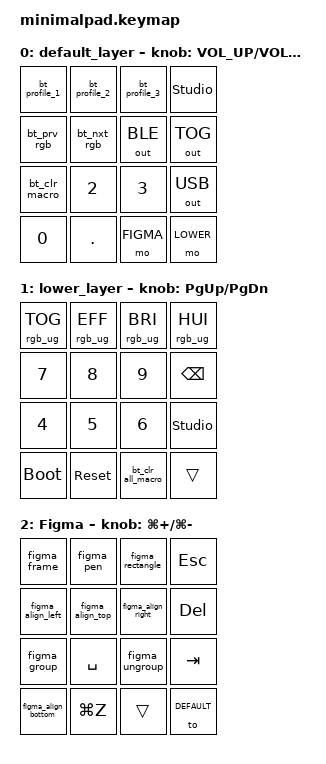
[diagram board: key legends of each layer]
#include <behaviors.dtsi>
#include <dt-bindings/zmk/keys.h>
#include <dt-bindings/zmk/bt.h>
#include <dt-bindings/zmk/rgb.h>
#include <dt-bindings/zmk/outputs.h>
#include <dt-bindings/gpio/gpio.h>
#include <dt-bindings/zmk/ext_power.h>


#define DEFAULT 0
#define LOWER   1
#define FIGMA   2
#define EXTRA_1 3
#define EXTRA_2 4

/ {
    // Define a global RGB control behavior to initialize RGB on startup
    behaviors {
        // Behavior to cycle through BT profiles with RGB indication
        bt_nxt_rgb: bt_nxt_rgb {
            compatible = "zmk,behavior-macro";
            #binding-cells = <0>;
            wait-ms = <100>;
            tap-ms = <5>;
            bindings = <&bt BT_NXT &rgb_ug RGB_COLOR_HSB(180,100,80)>;
            label = "BT_NEXT_WITH_RGB";
        };
        
        bt_prv_rgb: bt_prv_rgb {
            compatible = "zmk,behavior-macro";
            #binding-cells = <0>;
            wait-ms = <100>;
            tap-ms = <5>;
            bindings = <&bt BT_PRV &rgb_ug RGB_COLOR_HSB(300,100,80)>;
            label = "BT_PREV_WITH_RGB";
        };
    };

    sensors {
        compatible = "zmk,keymap-sensors";
        sensors = <&encoder0>;
        triggers-per-rotation = <10>;
    };

    // Define macros for layer-based RGB colors
    macros {
        rgb_default: rgb_default {
            compatible = "zmk,behavior-macro";
            #binding-cells = <0>;
            bindings = <&rgb_ug RGB_ON &rgb_ug RGB_COLOR_HSB(140,100,100)>;
            label = "RGB_DEFAULT";
        };

        rgb_lower: rgb_lower {
            compatible = "zmk,behavior-macro";
            #binding-cells = <0>;
            bindings = <&rgb_ug RGB_COLOR_HSB(285,80,100)>;
            label = "RGB_LOWER";
        };

        // Bluetooth status indication macros with forced RGB
        bt_profile_1: bt_profile_1 {
            compatible = "zmk,behavior-macro";
            #binding-cells = <0>;
            bindings = <&rgb_ug RGB_ON &bt BT_SEL 0 &rgb_ug RGB_COLOR_HSB(0,100,100)>; // Red
            label = "BT_PROFILE_1";
        };

        bt_profile_2: bt_profile_2 {
            compatible = "zmk,behavior-macro";
            #binding-cells = <0>;
            bindings = <&rgb_ug RGB_ON &bt BT_SEL 1 &rgb_ug RGB_COLOR_HSB(30,100,100)>; // Orange
            label = "BT_PROFILE_2";
        };

        bt_profile_3: bt_profile_3 {
            compatible = "zmk,behavior-macro";
            #binding-cells = <0>;
            bindings = <&rgb_ug RGB_ON &bt BT_SEL 2 &rgb_ug RGB_COLOR_HSB(60,100,100)>; // Yellow
            label = "BT_PROFILE_3";
        };

        bt_profile_4: bt_profile_4 {
            compatible = "zmk,behavior-macro";
            #binding-cells = <0>;
            bindings = <&rgb_ug RGB_ON &bt BT_SEL 3 &rgb_ug RGB_COLOR_HSB(90,100,100)>; // Green
            label = "BT_PROFILE_4";
        };

        bt_clr_macro: bt_clr_macro {
            compatible = "zmk,behavior-macro";
            #binding-cells = <0>;
            bindings = <&rgb_ug RGB_ON &bt BT_CLR &rgb_ug RGB_COLOR_HSB(210,100,100)>; // Blue for clearing
            label = "BT_CLEAR";
        };
        
        bt_clr_all_macro: bt_clr_all_macro {
            compatible = "zmk,behavior-macro";
            #binding-cells = <0>;
            bindings = <&rgb_ug RGB_ON &bt BT_CLR_ALL &rgb_ug RGB_COLOR_HSB(270,100,100)>; // Purple for clearing all
            label = "BT_CLEAR_ALL";
        };

        // Force RGB on macro - fixed version
        rgb_on_macro: rgb_on_macro {
            compatible = "zmk,behavior-macro";
            #binding-cells = <0>;
            bindings = <&rgb_ug RGB_ON>;
            label = "RGB_FORCE_ON";
        };

        // Figma-specific macros
        figma_rgb: figma_rgb {
            compatible = "zmk,behavior-macro";
            #binding-cells = <0>;
            bindings = <&rgb_ug RGB_COLOR_HSB(200,100,100)>; // Blue color for Figma layer
            label = "FIGMA_RGB";
        };
        
        // Frame tool shortcut (F)
        figma_frame: figma_frame {
            compatible = "zmk,behavior-macro";
            #binding-cells = <0>;
            bindings = <&kp F>;
            label = "FIGMA_FRAME";
        };
        
        // Pen tool shortcut (P)
        figma_pen: figma_pen {
            compatible = "zmk,behavior-macro";
            #binding-cells = <0>;
            bindings = <&kp P>;
            label = "FIGMA_PEN";
        };
        
        // Rectangle tool shortcut (R)
        figma_rectangle: figma_rectangle {
            compatible = "zmk,behavior-macro";
            #binding-cells = <0>;
            bindings = <&kp R>;
            label = "FIGMA_RECTANGLE";
        };
        
        // Group objects (Cmd+G)
        figma_group: figma_group {
            compatible = "zmk,behavior-macro";
            #binding-cells = <0>;
            bindings = <&kp LG(G)>;
            label = "FIGMA_GROUP";
        };
        
        // Ungroup objects (Shift+Cmd+G)
        figma_ungroup: figma_ungroup {
            compatible = "zmk,behavior-macro";
            #binding-cells = <0>;
            bindings = <&kp LS(LG(G))>;
            label = "FIGMA_UNGROUP";
        };
        
        // Align left (Option+A then L)
        figma_align_left: figma_align_left {
            compatible = "zmk,behavior-macro";
            #binding-cells = <0>;
            bindings = <&kp LA(A) &kp L>;
            label = "FIGMA_ALIGN_LEFT";
        };
        
        // Align right (Option+A then R)
        figma_align_right: figma_align_right {
            compatible = "zmk,behavior-macro";
            #binding-cells = <0>;
            bindings = <&kp LA(A) &kp R>;
            label = "FIGMA_ALIGN_RIGHT";
        };
        
        // Align top (Option+A then T)
        figma_align_top: figma_align_top {
            compatible = "zmk,behavior-macro";
            #binding-cells = <0>;
            bindings = <&kp LA(A) &kp T>;
            label = "FIGMA_ALIGN_TOP";
        };
        
        // Align bottom (Option+A then B)
        figma_align_bottom: figma_align_bottom {
            compatible = "zmk,behavior-macro";
            #binding-cells = <0>;
            bindings = <&kp LA(A) &kp B>;
            label = "FIGMA_ALIGN_BOTTOM";
        };
    };

    // Define combo behavior to change RGB color when activating layers
    combos {
        compatible = "zmk,combos";
        combo_lower_layer {
            timeout-ms = <50>;
            key-positions = <15>; // Position of the layer key
            bindings = <&rgb_lower>;
            layers = <0>;
        };

        combo_default_layer_from_lower {
            timeout-ms = <50>;
            key-positions = <15>; // Position of the layer key (when releasing)
            bindings = <&rgb_default>;
            layers = <1>;
        };

        combo_figma_layer {
            timeout-ms = <50>;
            key-positions = <14>; // Position of the Figma layer key
            bindings = <&figma_rgb>;
            layers = <0>;
        };
    };

    keymap {
        compatible = "zmk,keymap";

        default_layer {
            bindings = <
                &bt_profile_1      &bt_profile_2      &bt_profile_3      &studio_unlock
                &bt_prv_rgb        &bt_nxt_rgb        &out OUT_BLE       &out OUT_TOG
                &bt_clr_macro      &kp N2             &kp N3             &out OUT_USB
                &kp N0             &kp DOT            &mo FIGMA          &mo LOWER
            >;
            sensor-bindings = <&inc_dec_kp C_VOL_UP C_VOL_DN>;
        };

        lower_layer {
            bindings = <
                &rgb_ug RGB_TOG    &rgb_ug RGB_EFF    &rgb_ug RGB_BRI    &rgb_ug RGB_HUI
                &kp N7             &kp N8             &kp N9             &kp BSPC
                &kp N4             &kp N5             &kp N6             &studio_unlock
                &bootloader        &sys_reset         &bt_clr_all_macro  &trans
            >;
            sensor-bindings = <&inc_dec_kp PG_UP PG_DN>;
        };
        
        figma_layer {
            display-name = "Figma";
            bindings = <
                &figma_frame       &figma_pen         &figma_rectangle   &kp ESC
                &figma_align_left  &figma_align_top   &figma_align_right &kp DEL
                &figma_group       &kp SPACE          &figma_ungroup     &kp TAB
                &figma_align_bottom &kp LG(Z)         &trans             &to DEFAULT
            >;
            sensor-bindings = <&inc_dec_kp LG(PLUS) LG(MINUS)>; // Zoom in/out in Figma
        };
        
        extra_1 {
            status = "reserved";
        };
        
        extra_2 {
            status = "reserved";
        };
    };
};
